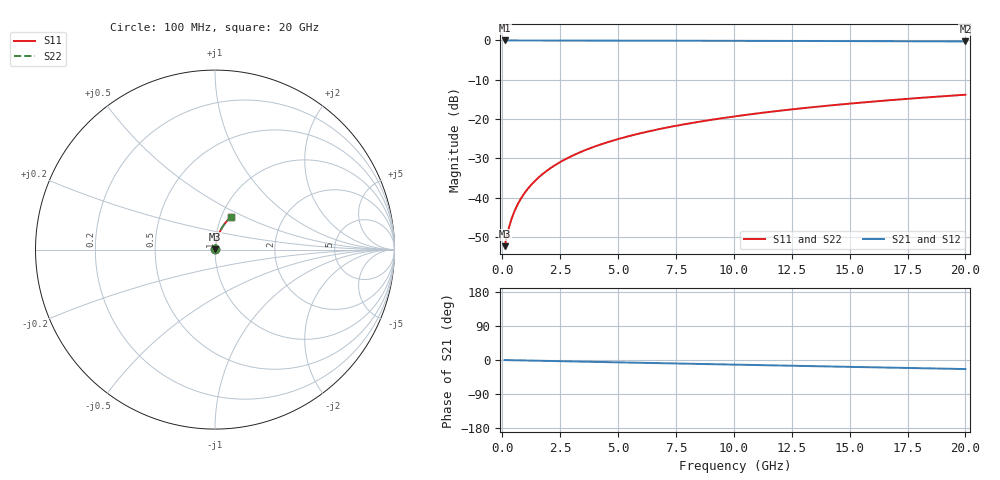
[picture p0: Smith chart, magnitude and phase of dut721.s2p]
! Touchstone file exported from HFSS 2026.1.0
!  File:  C:/ffzhzh/LocalFiles/Ansys_Project_Files/temp_train_TMRDL_721_1783154773_18472.aedt
!  Generated:  04:47:26 PM Jul  4, 2026
!  Design:  TMRDL
!  Project:  temp_train_TMRDL_721_1783154773_18472
! Variables:
!  h_bsmrdl = 2um
!  h_ox = 20um
!  h_rdl = 5um
!  h_sub = 80um
!  h_tmrdl = 4.12um
!  h_tsv = 80um
!  h_via = 3um
!  l_bsmrdl = 300um
!  l_sub = 755.2um
!  l_tmrdl = 355.2um
!  m_sub = 200um
!  pitch = 31.98um
!  r_tsv = 6um
!  s_tmrdl = 10um
!  w_bsmrdl = 18um
!  w_sub = 500um
!  w_tmrdl = 15.84um
!  x_tsv_center1 = 363.12um
!  x_tsv_center2 = 681.12um
!  x_tsv_center3 = 1052.16um
!  x_tsv_center4 = 1370.16um
!  x_tsv_center5 = 1741.2um
!  x_tsv_center6 = 2059.2um
# GHz S MA R 50.000000
! Terminal data exported
! Port[1] = TM_RDL1_1_T1
! Port[2] = TM_RDL1_1_T2
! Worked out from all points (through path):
!   200 points, 100 MHz to 20 GHz, reference 50 ohm
!   highest |S21| = -0.02 dB at 100 MHz (marker M1); lowest = -0.3 dB at 20 GHz (marker M2)
!   group delay of S21, straight-line fit = 3.31 ps
!   lowest |S11| = -52.3 dB at 100 MHz (marker M3), VSWR 1.00, Z = 50.2 + j0.126 ohm
!   |S11| at or under -10 dB: start of sweep to end of sweep
!   |S22| runs from -52.3 to -13.8 dB; largest |S21 - S12| = 4.2e-15
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0.1  0.002428 31.2  0.9979 -0.1  0.9979 -0.1  0.002428 31.2
! Gamma 0 0 0 0
! Port Impedance 50 0 50 0
0.2  0.003289 49.2  0.9978 -0.3  0.9978 -0.3  0.003288 49.3
0.3  0.004316 58.7  0.9977 -0.4  0.9977 -0.4  0.004316 58.8
0.4  0.005387 64.2  0.9977 -0.5  0.9977 -0.5  0.005389 64.3
0.5  0.006467 67.8  0.9976 -0.6  0.9976 -0.6  0.006472 67.9
0.6  0.007549 70.4  0.9975 -0.8  0.9975 -0.8  0.007556 70.5
0.8  0.009719 73.9  0.9974 -1.0  0.9974 -1.0  0.009727 74.0
1.1  0.01299 76.9  0.9973 -1.4  0.9973 -1.4  0.013 76.9
1.3  0.01519 78.1  0.9972 -1.6  0.9972 -1.6  0.01519 78.2
1.6  0.01849 79.3  0.9971 -2.0  0.9971 -2.0  0.0185 79.4
2.1  0.02402 80.4  0.9968 -2.6  0.9968 -2.6  0.02402 80.4
2.7  0.03065 80.8  0.9964 -3.4  0.9964 -3.4  0.03065 80.8
3.5  0.03944 80.6  0.9958 -4.4  0.9958 -4.4  0.03944 80.6
4.2  0.04708 80.2  0.9951 -5.2  0.9951 -5.2  0.04708 80.2
5  0.05572 79.5  0.9943 -6.2  0.9943 -6.2  0.05572 79.5
5.9  0.06533 78.7  0.9933 -7.3  0.9933 -7.3  0.06533 78.7
6.8  0.07484 77.8  0.9922 -8.4  0.9922 -8.4  0.07484 77.8
8.3  0.09045 76.2  0.9902 -10.2  0.9902 -10.2  0.09045 76.2
10.1  0.1088 74.3  0.9877 -12.3  0.9877 -12.3  0.1088 74.3
13.4  0.1417 70.8  0.9825 -16.2  0.9825 -16.2  0.1417 70.8
16.7  0.1734 67.2  0.9766 -20.1  0.9766 -20.1  0.1734 67.2
20  0.2039 63.6  0.9701 -23.9  0.9701 -23.9  0.2039 63.6
